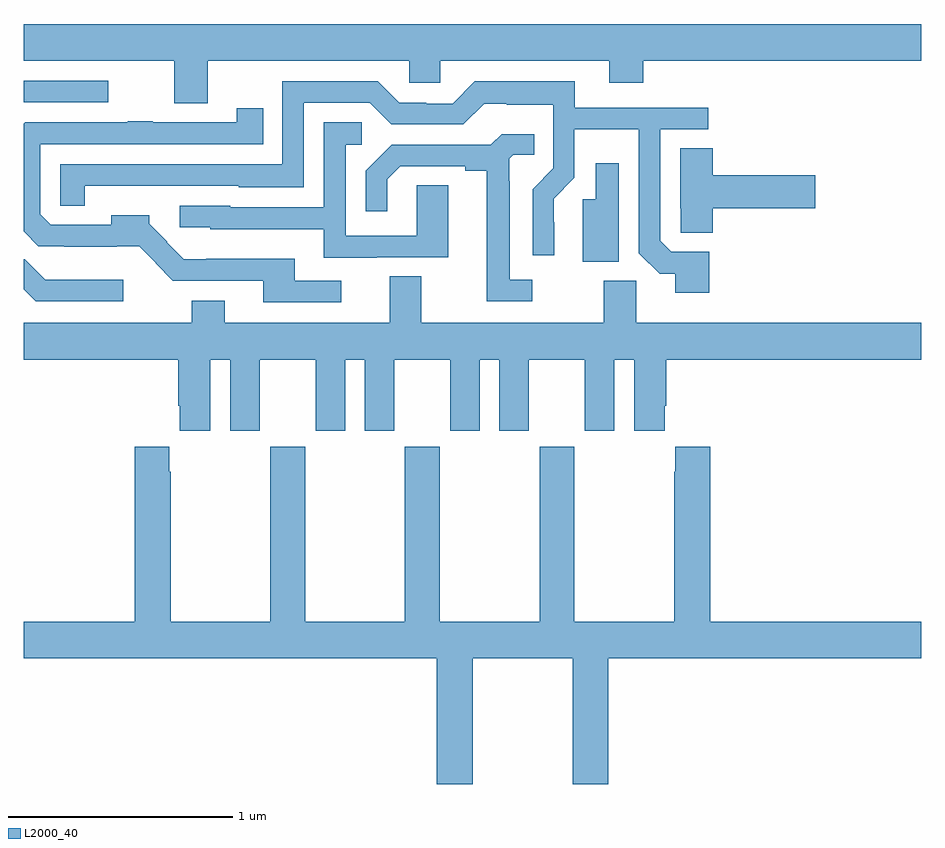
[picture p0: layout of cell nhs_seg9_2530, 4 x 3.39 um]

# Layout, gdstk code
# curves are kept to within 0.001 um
import gdstk
lib = gdstk.Library(unit=1e-6, precision=1e-09)
def R(c, l, rs):  # rectangles x0, y0, x1, y1
    for r in rs: c.add(gdstk.rectangle(r[:2], r[2:], *l))
def P(c, l, *ps):  # polygons
    for p in ps: c.add(gdstk.Polygon(p, *l))
L2000_40 = (2000, 40)

nhs_seg9_2530 = lib.new_cell('nhs_seg9_2530')
R(nhs_seg9_2530, L2000_40, [(255,1225.539,255.376,1225.635)])
P(nhs_seg9_2530, L2000_40, [(255,1225.724),(255.671,1225.724),(255.671,1225.534),(255.819,1225.534),(255.819,1225.724),(256.719,1225.724),(256.719,1225.626),(256.857,1225.626),(256.857,1225.724),(257.609,1225.724),(257.609,1225.625),(257.762,1225.625),(257.762,1225.724),(259,1225.724),(259,1225.888),(255,1225.888)],
  [(258.056,1224.873),(257.886,1224.873),(257.838,1224.921),(257.838,1225.419),(258.052,1225.419),(258.052,1225.515),(257.455,1225.515),(257.455,1225.633),(257.011,1225.633),(256.911,1225.533),(256.794,1225.533),(256.794,1225.536),(256.674,1225.536),(256.578,1225.632),(256.152,1225.632),(256.152,1225.263),(255.162,1225.263),(255.162,1225.078),(255.271,1225.078),(255.271,1225.166),(255.957,1225.167),(255.957,1225.16),(256.248,1225.16),(256.248,1225.536),(256.542,1225.536),(256.638,1225.44),(256.959,1225.44),(257.052,1225.533),(257.152,1225.533),(257.152,1225.529),(257.361,1225.529),(257.361,1225.245),(257.268,1225.152),(257.268,1224.858),(257.364,1224.858),(257.363,1225.11),(257.454,1225.202),(257.454,1225.418),(257.742,1225.418),(257.742,1224.867),(257.835,1224.775),(257.903,1224.775),(257.903,1224.69),(258.056,1224.69)],
  [(256.414,1224.744),(256.207,1224.744),(256.207,1224.841),(255.814,1224.841),(255.814,1224.839),(255.713,1224.839),(255.636,1224.915),(255.639,1224.918),(255.56,1224.997),(255.56,1225.036),(255.389,1225.036),(255.389,1224.993),(255.12,1224.993),(255.072,1225.041),(255.072,1225.353),(256.067,1225.353),(256.067,1225.513),(255.949,1225.513),(255.949,1225.449),(255.575,1225.449),(255.575,1225.454),(255.463,1225.454),(255.463,1225.449),(255.006,1225.449),(255,1225.443),(255,1224.963),(255.065,1224.898),(255.181,1224.898),(255.181,1224.896),(255.515,1224.897),(255.589,1224.823),(255.587,1224.821),(255.663,1224.744),(256.067,1224.744),(256.067,1224.648),(256.414,1224.648)],
  [(256.573,1224.849),(256.891,1224.849),(256.891,1225.169),(256.752,1225.169),(256.752,1224.945),(256.434,1224.945),(256.434,1225.35),(256.507,1225.35),(256.507,1225.451),(256.338,1225.451),(256.338,1225.071),(255.921,1225.071),(255.921,1225.077),(255.696,1225.077),(255.696,1224.981),(255.831,1224.981),(255.831,1224.974),(256.337,1224.974),(256.337,1224.845),(256.573,1224.845)],
  [(257.266,1224.747),(257.167,1224.747),(257.167,1225.187),(257.163,1225.187),(257.163,1225.287),(257.181,1225.305),(257.276,1225.305),(257.276,1225.397),(257.13,1225.397),(257.082,1225.35),(256.64,1225.35),(256.524,1225.234),(256.524,1225.053),(256.621,1225.053),(256.621,1225.197),(256.678,1225.254),(256.967,1225.254),(256.967,1225.234),(257.063,1225.234),(257.063,1224.651),(257.266,1224.651)],
  [(258.071,1225.067),(258.529,1225.067),(258.529,1225.214),(258.071,1225.214),(258.071,1225.334),(257.927,1225.334),(257.927,1225.066),(257.928,1225.066),(257.928,1224.958),(258.071,1224.958)],
  [(257.653,1225.267),(257.549,1225.267),(257.549,1225.107),(257.492,1225.107),(257.492,1224.829),(257.653,1224.829)],
  [(255.442,1224.748),(255.095,1224.748),(255.004,1224.839),(255,1224.839),(255,1224.705),(255.054,1224.651),(255.442,1224.651)],
  [(255.895,1224.655),(255.748,1224.655),(255.748,1224.556),(255,1224.556),(255,1224.392),(255.689,1224.392),(255.689,1224.187),(255.695,1224.187),(255.695,1224.075),(255.832,1224.075),(255.832,1224.392),(255.92,1224.392),(255.92,1224.075),(256.051,1224.075),(256.051,1224.392),(256.301,1224.392),(256.301,1224.075),(256.432,1224.075),(256.432,1224.392),(256.52,1224.392),(256.52,1224.075),(256.651,1224.075),(256.651,1224.392),(256.901,1224.392),(256.901,1224.075),(257.032,1224.075),(257.032,1224.392),(257.12,1224.392),(257.12,1224.075),(257.251,1224.075),(257.251,1224.392),(257.501,1224.392),(257.501,1224.075),(257.632,1224.075),(257.632,1224.392),(257.72,1224.392),(257.72,1224.075),(257.857,1224.075),(257.857,1224.187),(257.864,1224.187),(257.864,1224.392),(259,1224.392),(259,1224.556),(257.73,1224.556),(257.73,1224.744),(257.584,1224.744),(257.584,1224.556),(256.771,1224.556),(256.771,1224.764),(256.631,1224.764),(256.631,1224.556),(255.895,1224.556)],
  [(257.001,1223.06),(257.446,1223.06),(257.446,1222.5),(257.606,1222.5),(257.606,1223.06),(259,1223.06),(259,1223.224),(258.059,1223.224),(258.059,1224.004),(257.903,1224.004),(257.903,1223.891),(257.899,1223.891),(257.899,1223.224),(257.454,1223.224),(257.454,1224.004),(257.299,1224.004),(257.299,1223.224),(256.854,1223.224),(256.854,1224.004),(256.699,1224.004),(256.699,1223.224),(256.254,1223.224),(256.254,1224.004),(256.099,1224.004),(256.099,1223.224),(255.654,1223.224),(255.654,1223.891),(255.649,1223.891),(255.649,1224.004),(255.494,1224.004),(255.494,1223.224),(255,1223.224),(255,1223.06),(256.841,1223.06),(256.841,1222.5),(257.001,1222.5)])

lib.write_gds('nhs_seg9_2530.gds')
